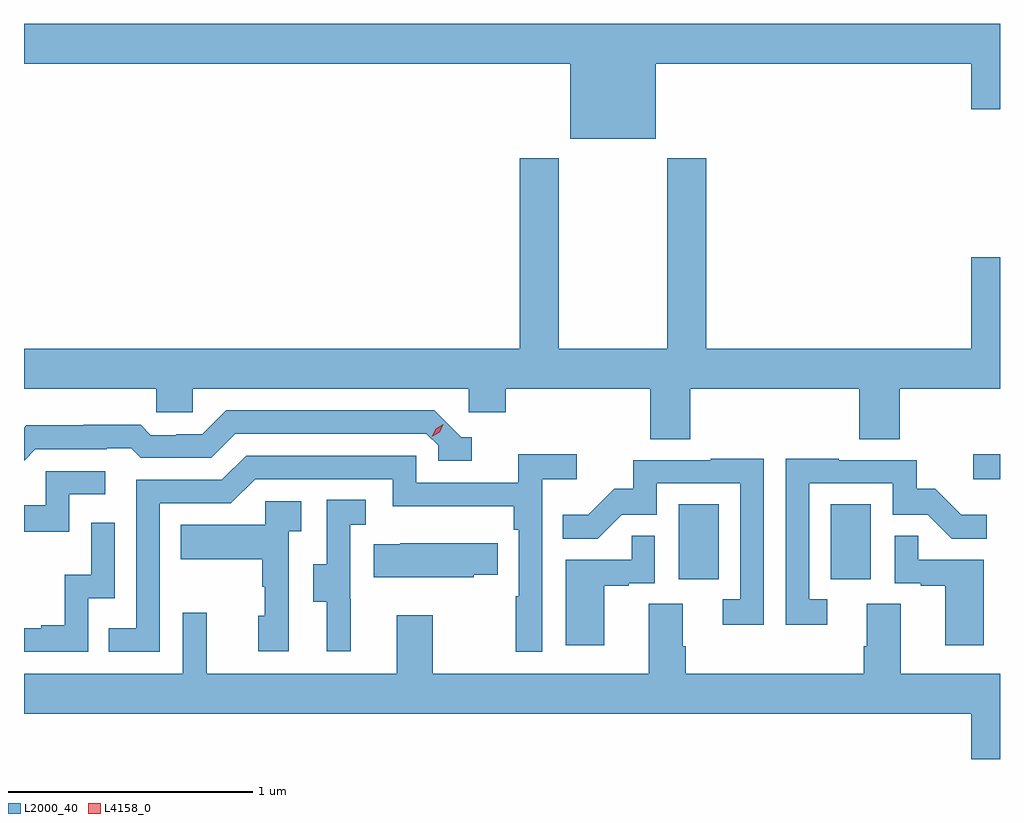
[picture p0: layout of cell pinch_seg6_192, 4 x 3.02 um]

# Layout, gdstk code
import gdstk
lib = gdstk.Library(unit=1e-6, precision=1e-09)
def R(c, l, rs):  # rectangles x0, y0, x1, y1
    for r in rs: c.add(gdstk.rectangle(r[:2], r[2:], *l))
def P(c, l, *ps):  # polygons
    for p in ps: c.add(gdstk.Polygon(p, *l))
L2000_40 = (2000, 40)
L4158_0 = (4158, 0)

pinch_seg6_192 = lib.new_cell('pinch_seg6_192')
R(pinch_seg6_192, L2000_40, [(1026.944,934.566,1027.108,934.873), (1027.568,934.566,1027.732,934.873), (1028.151,934.976,1028.261,935.078)])
P(pinch_seg6_192, L2000_40, [(1026.85,936.68),(1028.144,936.68),(1028.144,936.492),(1028.261,936.492),(1028.261,936.844),(1024.261,936.844),(1024.261,936.68),(1026.5,936.68),(1026.5,936.371),(1026.85,936.371)],
  [(1026.992,935.348),(1027.685,935.348),(1027.685,935.14),(1027.85,935.14),(1027.85,935.348),(1028.261,935.348),(1028.261,935.887),(1028.144,935.887),(1028.144,935.512),(1027.058,935.512),(1027.058,936.292),(1026.898,936.292),(1026.898,935.512),(1026.453,935.512),(1026.453,936.292),(1026.293,936.292),(1026.293,935.512),(1024.261,935.512),(1024.261,935.348),(1024.803,935.348),(1024.803,935.25),(1024.953,935.25),(1024.953,935.348),(1026.084,935.348),(1026.084,935.25),(1026.236,935.25),(1026.236,935.348),(1026.827,935.348),(1026.827,935.14),(1026.992,935.14)],
  [(1026.097,935.148),(1026.054,935.148),(1025.943,935.259),(1025.09,935.259),(1024.991,935.16),(1024.884,935.16),(1024.884,935.157),(1024.781,935.157),(1024.739,935.2),(1024.506,935.2),(1024.506,935.197),(1024.27,935.197),(1024.261,935.188),(1024.261,935.053),(1024.308,935.1),(1024.601,935.1),(1024.601,935.103),(1024.7,935.103),(1024.739,935.064),(1025.028,935.064),(1025.127,935.163),(1025.91,935.163),(1025.958,935.115),(1025.958,935.052),(1026.097,935.052)],
  [(1024.818,934.878),(1025.109,934.878),(1025.208,934.977),(1025.772,934.977),(1025.772,934.865),(1026.268,934.865),(1026.268,934.769),(1026.288,934.769),(1026.288,934.496),(1026.276,934.496),(1026.276,934.269),(1026.384,934.269),(1026.384,934.976),(1026.526,934.976),(1026.526,935.078),(1026.287,935.078),(1026.287,934.962),(1025.868,934.962),(1025.868,935.073),(1025.171,935.073),(1025.072,934.974),(1024.722,934.974),(1024.722,934.365),(1024.609,934.365),(1024.609,934.269),(1024.818,934.269)],
  [(1027.293,935.06),(1027.075,935.06),(1027.075,935.055),(1026.757,935.055),(1026.757,934.938),(1026.68,934.938),(1026.573,934.831),(1026.469,934.831),(1026.469,934.732),(1026.613,934.732),(1026.711,934.83),(1026.855,934.83),(1026.855,934.959),(1027.197,934.959),(1027.197,934.485),(1027.125,934.485),(1027.125,934.38),(1027.293,934.38)],
  [(1027.552,934.485),(1027.479,934.485),(1027.479,934.959),(1027.821,934.959),(1027.821,934.83),(1027.965,934.83),(1028.063,934.732),(1028.207,934.732),(1028.207,934.831),(1028.103,934.831),(1027.996,934.938),(1027.92,934.938),(1027.92,935.055),(1027.601,935.055),(1027.601,935.06),(1027.383,935.06),(1027.383,934.38),(1027.552,934.38)],
  [(1024.446,934.914),(1024.594,934.914),(1024.594,935.01),(1024.35,935.01),(1024.35,934.869),(1024.261,934.869),(1024.261,934.761),(1024.446,934.761)],
  [(1025.6,934.485),(1025.598,934.485),(1025.598,934.789),(1025.662,934.789),(1025.662,934.892),(1025.502,934.892),(1025.502,934.629),(1025.447,934.629),(1025.447,934.474),(1025.501,934.474),(1025.501,934.272),(1025.6,934.272)],
  [(1025.346,934.763),(1025.398,934.763),(1025.398,934.887),(1025.25,934.887),(1025.25,934.789),(1024.903,934.789),(1024.903,934.649),(1025.238,934.649),(1025.238,934.535),(1025.248,934.535),(1025.248,934.416),(1025.222,934.416),(1025.222,934.272),(1025.346,934.272)],
  [(1024.524,934.488),(1024.632,934.488),(1024.632,934.798),(1024.536,934.798),(1024.536,934.586),(1024.427,934.586),(1024.427,934.378),(1024.331,934.378),(1024.331,934.365),(1024.261,934.365),(1024.261,934.269),(1024.524,934.269)],
  [(1028.194,934.647),(1027.925,934.647),(1027.925,934.745),(1027.83,934.745),(1027.83,934.551),(1027.937,934.551),(1027.937,934.539),(1028.036,934.539),(1028.036,934.296),(1028.194,934.296)],
  [(1026.64,934.539),(1026.74,934.539),(1026.74,934.551),(1026.846,934.551),(1026.846,934.745),(1026.751,934.745),(1026.751,934.647),(1026.482,934.647),(1026.482,934.296),(1026.64,934.296)],
  [(1026.105,934.585),(1026.203,934.585),(1026.203,934.714),(1025.803,934.714),(1025.803,934.711),(1025.695,934.711),(1025.695,934.574),(1026.105,934.574)],
  [(1028.261,934.18),(1027.855,934.18),(1027.855,934.466),(1027.715,934.466),(1027.715,934.292),(1027.703,934.292),(1027.703,934.18),(1026.974,934.18),(1026.974,934.292),(1026.961,934.292),(1026.961,934.466),(1026.821,934.466),(1026.821,934.18),(1025.937,934.18),(1025.937,934.42),(1025.789,934.42),(1025.789,934.18),(1025.009,934.18),(1025.009,934.429),(1024.911,934.429),(1024.911,934.18),(1024.261,934.18),(1024.261,934.016),(1028.144,934.016),(1028.144,933.828),(1028.261,933.828)])
P(pinch_seg6_192, L4158_0, [(1025.933,935.15),(1025.933,935.15),(1025.949,935.183),(1025.98,935.202),(1025.98,935.202),(1025.98,935.202),(1025.964,935.169),(1025.933,935.15)])

lib.write_gds('pinch_seg6_192.gds')
